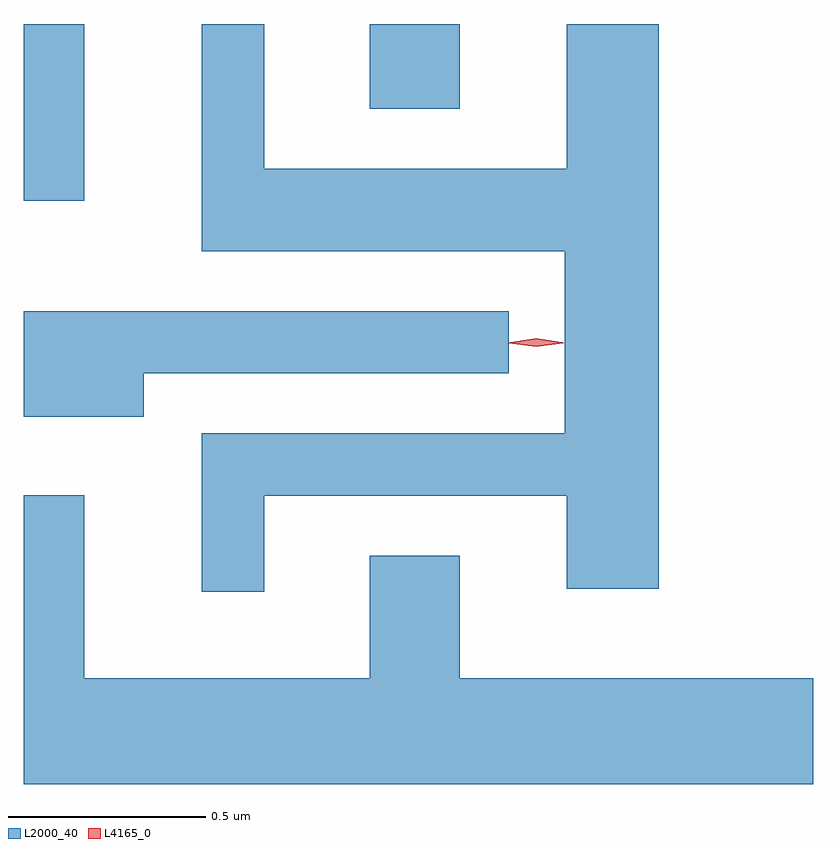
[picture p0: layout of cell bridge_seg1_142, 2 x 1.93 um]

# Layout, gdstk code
import gdstk
lib = gdstk.Library(unit=1e-6, precision=1e-09)
def R(c, l, rs):  # rectangles x0, y0, x1, y1
    for r in rs: c.add(gdstk.rectangle(r[:2], r[2:], *l))
def P(c, l, *ps):  # polygons
    for p in ps: c.add(gdstk.Polygon(p, *l))
L2000_40 = (2000, 40)
L4165_0 = (4165, 0)

bridge_seg1_142 = lib.new_cell('bridge_seg1_142')
R(bridge_seg1_142, L2000_40, [(910.595,963.213,910.749,963.661), (911.471,963.446,911.699,963.661)])
P(bridge_seg1_142, L2000_40, [(911.204,962.466),(911.971,962.466),(911.971,962.231),(912.204,962.231),(912.204,963.661),(911.971,963.661),(911.971,963.294),(911.204,963.294),(911.204,963.661),(911.046,963.661),(911.046,963.086),(911.966,963.086),(911.966,962.624),(911.046,962.624),(911.046,962.223),(911.204,962.223)],
  [(910.899,962.776),(911.823,962.776),(911.823,962.934),(910.595,962.934),(910.595,962.666),(910.899,962.666)],
  [(912.595,962.004),(911.699,962.004),(911.699,962.314),(911.471,962.314),(911.471,962.004),(910.749,962.004),(910.749,962.468),(910.595,962.468),(910.595,961.736),(912.595,961.736)])
P(bridge_seg1_142, L4165_0, [(911.893,962.845),(911.827,962.854),(911.827,962.855),(911.827,962.855),(911.893,962.865),(911.959,962.855),(911.96,962.855),(911.959,962.854)],
  [(911.893,962.843),(911.824,962.852),(911.823,962.853),(911.824,962.854),(911.893,962.863),(911.962,962.854),(911.963,962.853),(911.962,962.852)])

lib.write_gds('bridge_seg1_142.gds')
